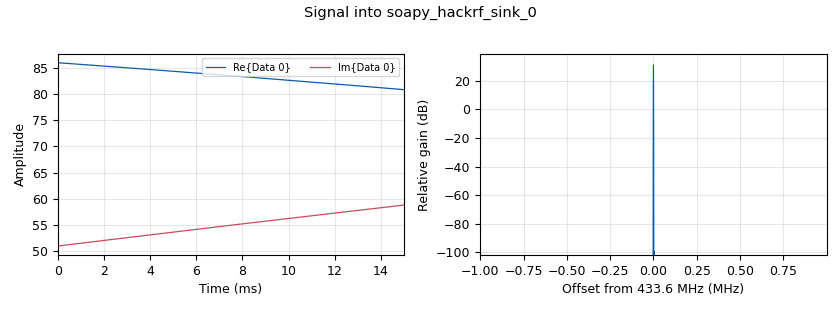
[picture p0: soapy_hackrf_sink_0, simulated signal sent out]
options:
  parameters:
    author: Andrea
    generate_options: qt_gui
    id: jamming1
    output_language: python
    title: Jamming
  states: {}

blocks:
- name: freq
  id: variable
  parameters:
    value: 43360e4
  states: {}
- name: samp_rate
  id: variable
  parameters:
    value: '2000000'
  states: {}
- name: analog_sig_source_x_0
  id: analog_sig_source_x
  parameters:
    amp: '100'
    freq: '1'
    offset: '0'
    phase: '0'
    samp_rate: samp_rate
    type: complex
    waveform: analog.GR_COS_WAVE
  states: {}
- name: soapy_hackrf_sink_0
  id: soapy_hackrf_sink
  parameters:
    center_freq: freq
    samp_rate: samp_rate
    type: fc32
    vga: '47'
  states: {}

connections:
- [analog_sig_source_x_0, '0', soapy_hackrf_sink_0, '0']

metadata:
  file_format: 1
  grc_version: 3.10.10.0
